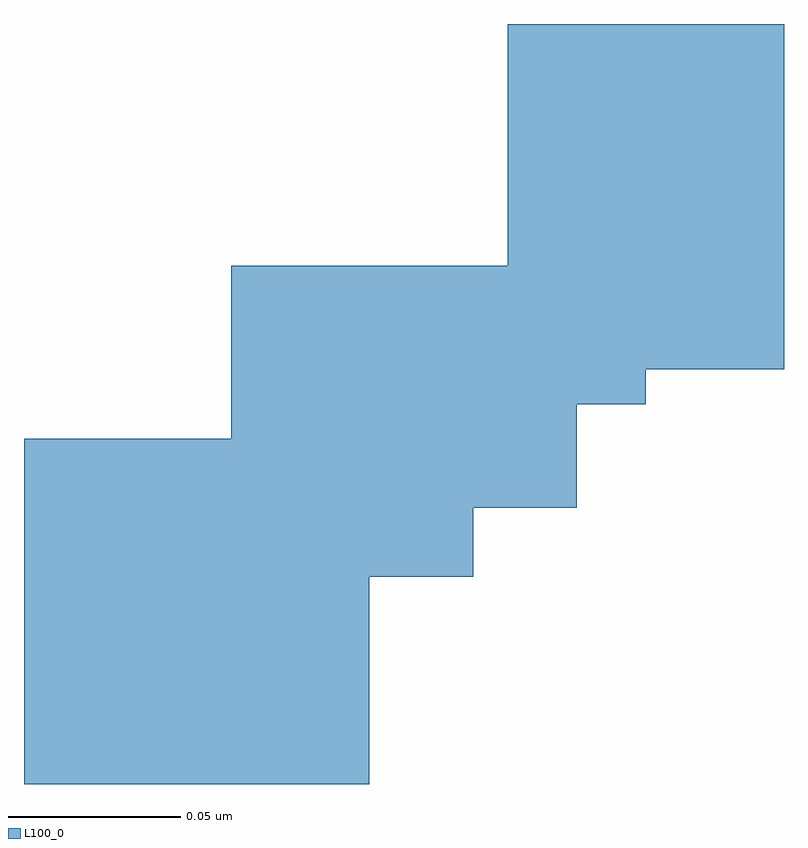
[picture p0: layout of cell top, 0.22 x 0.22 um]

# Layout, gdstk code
import gdstk
lib = gdstk.Library(unit=1e-6, precision=1e-09)
def R(c, l, rs):  # rectangles x0, y0, x1, y1
    for r in rs: c.add(gdstk.rectangle(r[:2], r[2:], *l))
L100_0 = (100, 0)

top = lib.new_cell('top')
R(top, L100_0, [(0,0,0.1,0.06), (0,0.06,0.13,0.08), (0,0.08,0.16,0.1), (0.06,0.1,0.16,0.11), (0.06,0.11,0.18,0.12), (0.06,0.12,0.22,0.15), (0.14,0.15,0.22,0.22)])

lib.write_gds('top.gds')
